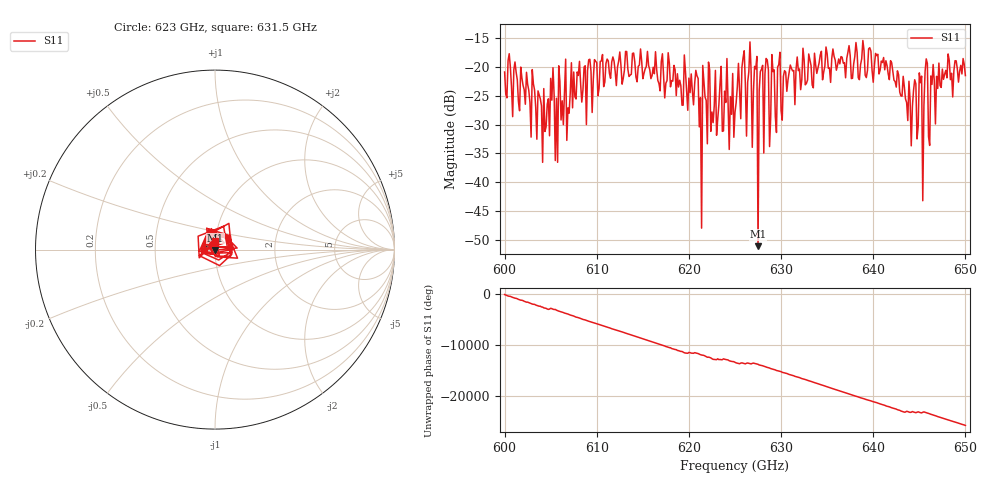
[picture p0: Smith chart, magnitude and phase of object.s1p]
!Created with skrf (http://scikit-rf.org).
# GHz S MA R 50.0
!freq magS11 angS11
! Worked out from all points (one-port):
!   401 points, 600 GHz to 650 GHz, reference 50 ohm
!   lowest |S11| = -51.1 dB at 627.5 GHz (marker M1), VSWR 1.01, Z = 50.1 - j0.261 ohm
!   |S11| at or under -10 dB: start of sweep to end of sweep
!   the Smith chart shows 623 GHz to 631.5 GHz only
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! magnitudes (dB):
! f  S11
! 600 GHz  -20.9
! 601.2 GHz  -20.9
! 604.2 GHz  -23.7
! 605 GHz  -22.0
! 605.5 GHz  -36.3
! 606.2 GHz  -25.9
! 608 GHz  -21.5
! 612.5 GHz  -17.4
! 618.8 GHz  -21.2
! 620.8 GHz  -20.6
! 621 GHz  -22.0
! 621.1 GHz  -30.4
! 622 GHz  -33.3
! 622.9 GHz  -20.6
! 625 GHz  -27.9
! 625.9 GHz  -18.4
! 627.1 GHz  -19.9
! 627.5 GHz  -51.1
! 628.2 GHz  -21.2
! 631.2 GHz  -20.7
! 637.5 GHz  -18.0
! 641.1 GHz  -18.4
! 643.8 GHz  -29.3
! 645.1 GHz  -22.7
! 645.8 GHz  -18.6
! 646.2 GHz  -21.6
! 648 GHz  -21.9
! 650 GHz  -21.5
